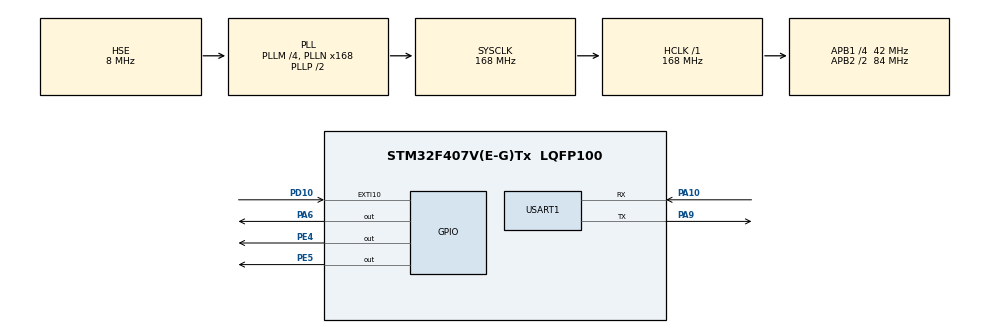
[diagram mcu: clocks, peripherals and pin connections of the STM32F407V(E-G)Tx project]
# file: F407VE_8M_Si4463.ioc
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Mcu.Family=STM32F4
Mcu.Name=STM32F407V(E-G)Tx
Mcu.Package=LQFP100
NVIC.EXTI15_10_IRQn=true\:0\:0\:false\:false\:true\:true\:true
NVIC.PriorityGroup=NVIC_PRIORITYGROUP_4
NVIC.USART1_IRQn=true\:0\:0\:false\:false\:true\:true\:true
PA10.Mode=Asynchronous
PA10.Signal=USART1_RX
PA13.Mode=Serial_Wire
PA13.Signal=SYS_JTMS-SWDIO
PA14.Mode=Serial_Wire
PA14.Signal=SYS_JTCK-SWCLK
PA6.GPIO_ModeDefaultOutputPP=GPIO_MODE_OUTPUT_PP
PA6.GPIO_PuPd=GPIO_PULLUP
PA6.GPIO_Speed=GPIO_SPEED_FREQ_VERY_HIGH
PA6.PinState=GPIO_PIN_SET
PA6.Signal=GPIO_Output
PA9.Mode=Asynchronous
PA9.Signal=USART1_TX
PC14-OSC32_IN.Mode=LSE-External-Oscillator
PC14-OSC32_IN.Signal=RCC_OSC32_IN
PC15-OSC32_OUT.Mode=LSE-External-Oscillator
PC15-OSC32_OUT.Signal=RCC_OSC32_OUT
PD10.GPIO_ModeDefaultEXTI=GPIO_MODE_IT_FALLING
PD10.GPIO_PuPd=GPIO_PULLUP
PD10.Signal=GPXTI10
PE4.GPIO_ModeDefaultOutputPP=GPIO_MODE_OUTPUT_PP
PE4.GPIO_PuPd=GPIO_PULLUP
PE4.GPIO_Speed=GPIO_SPEED_FREQ_VERY_HIGH
PE4.PinState=GPIO_PIN_SET
PE4.Signal=GPIO_Output
PE5.GPIO_ModeDefaultOutputPP=GPIO_MODE_OUTPUT_PP
PE5.GPIO_PuPd=GPIO_PULLUP
PE5.GPIO_Speed=GPIO_SPEED_FREQ_VERY_HIGH
PE5.PinState=GPIO_PIN_SET
PE5.Signal=GPIO_Output
PH0-OSC_IN.Mode=HSE-External-Oscillator
PH0-OSC_IN.Signal=RCC_OSC_IN
PH1-OSC_OUT.Mode=HSE-External-Oscillator
PH1-OSC_OUT.Signal=RCC_OSC_OUT
ProjectManager.HeapSize=0x200
ProjectManager.StackSize=0x400
ProjectManager.TargetToolchain=MDK-ARM V5.27
RCC.48MHZClocksFreq_Value=84000000
RCC.AHBFreq_Value=168000000
RCC.APB1CLKDivider=RCC_HCLK_DIV4
RCC.APB1Freq_Value=42000000
RCC.APB1TimFreq_Value=84000000
RCC.APB2CLKDivider=RCC_HCLK_DIV2
RCC.APB2Freq_Value=84000000
RCC.APB2TimFreq_Value=168000000
RCC.CortexFreq_Value=168000000
RCC.HCLKFreq_Value=168000000
RCC.HSE_VALUE=8000000
RCC.HSI_VALUE=16000000
RCC.PLLM=4
RCC.PLLN=168
RCC.PLLSourceVirtual=RCC_PLLSOURCE_HSE
RCC.SYSCLKFreq_VALUE=168000000
RCC.SYSCLKSource=RCC_SYSCLKSOURCE_PLLCLK
RCC.VCOOutputFreq_Value=336000000
USART1.VirtualMode=VM_ASYNC
board=custom

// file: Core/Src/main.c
/* USER CODE BEGIN Header */
/**
  ******************************************************************************
  * @file           : main.c
  * @brief          : Main program body
  ******************************************************************************
  * @attention
  *
  * <h2><center>&copy; Copyright (c) 2021 STMicroelectronics.
  * All rights reserved.</center></h2>
  *
  * This software component is licensed by ST under BSD 3-Clause license,
  * the "License"; You may not use this file except in compliance with the
  * License. You may obtain a copy of the License at:
  *                        opensource.org/licenses/BSD-3-Clause
  *
  ******************************************************************************
  */
/* USER CODE END Header */
#include "main.h"
#include "usart.h"
#include "gpio.h"

/* USER CODE BEGIN Includes */
#include "Si4463/SI446x.h"
#include "KEY/key.h"
/* USER CODE END Includes */

/* USER CODE BEGIN PV */
MyUARTHandle uart1;
uint8_t uartBuf1[100];
/* USER CODE END PV */

void SystemClock_Config(void);

/* USER CODE BEGIN 0 */
void RxHandler(uint8_t len, uint8_t* data)
{
  MyUART_Write(&uart1, data, len);
}
/* USER CODE END 0 */

int main(void)
{
  /* USER CODE BEGIN 1 */
  uint8_t g_SI4463ItStatus[9] = {0};
  uint8_t g_SI4463RxBuffer[64] = {0};
  uint32_t i, fail;
  uint8_t status;
  uint8_t mode = 0, lastmode = 1;
  /* USER CODE END 1 */

  /* MCU Configuration--------------------------------------------------------*/

  /* Reset of all peripherals, Initializes the Flash interface and the Systick. */
  HAL_Init();

  /* Configure the system clock */
  SystemClock_Config();

  /* Initialize all configured peripherals */
  MX_GPIO_Init();
  MX_USART1_UART_Init();
  /* USER CODE BEGIN 2 */
  Delay_Init(168);
  MyUART_Init(&uart1, USART1, uartBuf1, 100);
  Key_Init();
  printf("Si4463 Test\r\n");
  HAL_NVIC_DisableIRQ(EXTI15_10_IRQn);
  SI446x_Init();
  SI446x_RegisterRxITHandler(&RxHandler);
  HAL_NVIC_EnableIRQ(EXTI15_10_IRQn);
  printf("mode: %s\r\n", mode ? "Tx" : "Rx");
  fail = 0;

  for(i = 0; i < 6; i++)
  {
    if(Key_ScanRaw() != 0xFF)
    {
      mode = !mode;
      printf("mode: %s\r\n", mode ? "Tx" : "Rx");
      HAL_GPIO_WritePin(GPIOA, GPIO_PIN_6, !mode);
    }
    Delay_ms(500);
  }
  /* USER CODE END 2 */

  /* Infinite loop */
  while (1)
  {

    /* USER CODE BEGIN 3 */
    if(Key_ScanRaw() != 0xFF)
    {
      mode = !mode;
      printf("mode: %s\r\n", mode ? "Tx" : "Rx");
      HAL_GPIO_WritePin(GPIOA, GPIO_PIN_6, !mode);
    }
    if(lastmode != mode)
    {
      // on switch logic
      if(mode) // tx
      {
        HAL_NVIC_DisableIRQ(EXTI15_10_IRQn);
      }
      else
      {
        HAL_NVIC_EnableIRQ(EXTI15_10_IRQn);
        SI446x_Start_Rx(0, 0, PACKET_LENGTH, 0, 0, 0);
      }
    }
    lastmode = mode;
    if(mode)
    {
      SI446x_Send_Packet("0123456789ABCDEF9876543210abcdef0246813579fedcba1357902468FEDCBA",64,0,0);
      Delay_ms(1000);
    }
    else
    {
      SI446x_Interrupt_Status(g_SI4463ItStatus);
      printf("%x %x %x %x %x %x %x %x|%x\r\n",
      g_SI4463ItStatus[1],
      g_SI4463ItStatus[2],
      g_SI4463ItStatus[3],
      g_SI4463ItStatus[4],
      g_SI4463ItStatus[5],
      g_SI4463ItStatus[6],
      g_SI4463ItStatus[7],
      g_SI4463ItStatus[8],
      SI446x_Get_Device_Status());
      Delay_ms(250);
    }

  }
  /* USER CODE END 3 */
}

void SystemClock_Config(void)
{
  RCC_OscInitTypeDef RCC_OscInitStruct = {0};
  RCC_ClkInitTypeDef RCC_ClkInitStruct = {0};

  /** Configure the main internal regulator output voltage
  */
  __HAL_RCC_PWR_CLK_ENABLE();
  __HAL_PWR_VOLTAGESCALING_CONFIG(PWR_REGULATOR_VOLTAGE_SCALE1);
  /** Initializes the RCC Oscillators according to the specified parameters
  * in the RCC_OscInitTypeDef structure.
  */
  RCC_OscInitStruct.OscillatorType = RCC_OSCILLATORTYPE_HSE;
  RCC_OscInitStruct.HSEState = RCC_HSE_ON;
  RCC_OscInitStruct.PLL.PLLState = RCC_PLL_ON;
  RCC_OscInitStruct.PLL.PLLSource = RCC_PLLSOURCE_HSE;
  RCC_OscInitStruct.PLL.PLLM = 4;
  RCC_OscInitStruct.PLL.PLLN = 168;
  RCC_OscInitStruct.PLL.PLLP = RCC_PLLP_DIV2;
  RCC_OscInitStruct.PLL.PLLQ = 4;
  if (HAL_RCC_OscConfig(&RCC_OscInitStruct) != HAL_OK)
  {
    Error_Handler();
  }
  /** Initializes the CPU, AHB and APB buses clocks
  */
  RCC_ClkInitStruct.ClockType = RCC_CLOCKTYPE_HCLK|RCC_CLOCKTYPE_SYSCLK
                              |RCC_CLOCKTYPE_PCLK1|RCC_CLOCKTYPE_PCLK2;
  RCC_ClkInitStruct.SYSCLKSource = RCC_SYSCLKSOURCE_PLLCLK;
  RCC_ClkInitStruct.AHBCLKDivider = RCC_SYSCLK_DIV1;
  RCC_ClkInitStruct.APB1CLKDivider = RCC_HCLK_DIV4;
  RCC_ClkInitStruct.APB2CLKDivider = RCC_HCLK_DIV2;

  if (HAL_RCC_ClockConfig(&RCC_ClkInitStruct, FLASH_LATENCY_5) != HAL_OK)
  {
    Error_Handler();
  }
}

void Error_Handler(void)
{
  __disable_irq();
  while (1)
  {
  }
}

/************************ (C) COPYRIGHT STMicroelectronics *****END OF FILE****/
